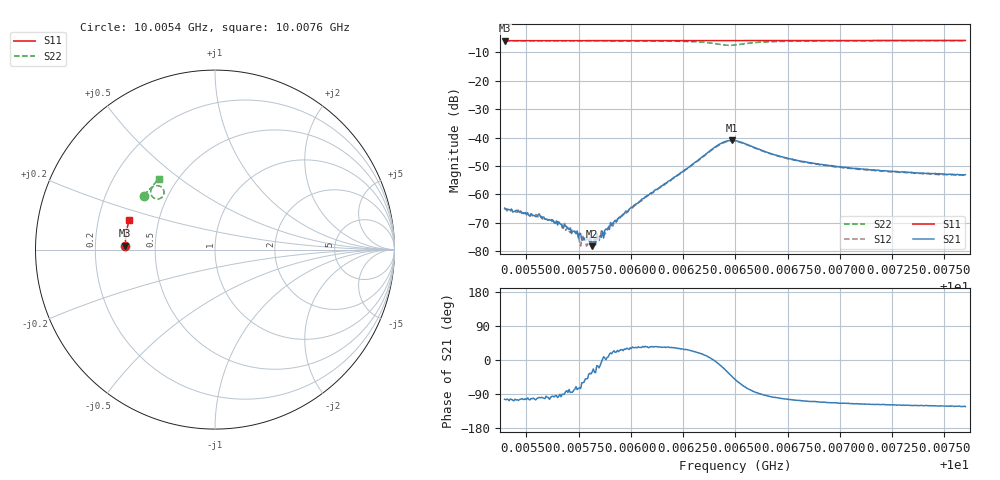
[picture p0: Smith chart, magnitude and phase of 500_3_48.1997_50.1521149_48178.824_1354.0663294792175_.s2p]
#  HZ  S  RI  R  50.00
! Rohde & Schwarz Vector Network Analyzer
! Rohde-Schwarz,ZNB20-2Port,1311601062101988,3.16
! Created: UTC 3/20/2024, 11:58:32 AM
! freq[Hz]  re:S11  im:S11  re:S21  im:S21  re:S12  im:S12  re:S22  im:S22
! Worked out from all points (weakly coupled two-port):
!   401 points, 10.0054 GHz to 10.0076 GHz, reference 50 ohm
!   highest |S21| = -41.03 dB at 10.00648 GHz (marker M1); lowest = -78.1 dB at 10.00581 GHz (marker M2)
!   lowest |S11| = -6.0 dB at 10.0054 GHz (marker M3), VSWR 3.01, Z = 16.6 + j1 ohm
!   |S11| at or under -10 dB: nowhere
!   |S22| runs from -7.6 to -6.0 dB; largest |S21 - S12| = 0.00055
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1.0005396e10  -0.5003 0.0226  -0.000135 -0.000559  -0.000127 -0.000529  -0.3949 0.3003
1.0005567e10  -0.5001 0.0338  -7.14e-05 -0.000403  -6.57e-05 -0.000414  -0.3876 0.3105
1.0005655e10  -0.4999 0.0396  -3.29e-05 -0.000327  -2.72e-06 -0.000315  -0.3835 0.3158
1.0005699e10  -0.4997 0.0424  1.76e-05 -0.000249  3.94e-05 -0.000259  -0.3814 0.3185
1.0005732e10  -0.4995 0.0446  5.16e-05 -0.000222  5.06e-05 -0.000209  -0.3797 0.3206
1.0005765e10  -0.4994 0.0466  7.91e-05 -0.000137  7.44e-05 -0.000145  -0.378 0.3226
1.0005776e10  -0.4994 0.0473  9.03e-05 -0.000146  6.3e-05 -0.000141  -0.3775 0.3233
1.0005787e10  -0.4993 0.0481  0.000111 -0.00013  8e-05 -9.55e-05  -0.3768 0.3238
1.0005815e10  -0.4992 0.0499  0.000105 -6.49e-05  0.000143 -7.48e-05  -0.3754 0.3256
1.000582e10  -0.4993 0.0503  0.000117 -5.12e-05  0.000112 -8.23e-05  -0.375 0.3261
1.0005837e10  -0.4992 0.0513  0.000202 -5.36e-05  0.000147 -6.48e-05  -0.374 0.327
1.0005859e10  -0.499 0.0527  0.000176 -1.7e-05  0.00023 3.08e-06  -0.3727 0.3284
1.0005914e10  -0.4987 0.0565  0.000294 0.000117  0.000253 0.000116  -0.3694 0.332
1.0005947e10  -0.4985 0.0584  0.00035 0.000165  0.000366 0.000176  -0.3673 0.3342
1.0006135e10  -0.4973 0.0706  0.00107 0.00074  0.00103 0.000787  -0.3516 0.3473
1.000641e10  -0.4943 0.0883  0.00705 -0.000762  0.00689 -0.000345  -0.287 0.3332
1.0006482e10  -0.4937 0.0924  0.00651 -0.00603  0.00676 -0.00554  -0.3 0.2878
1.0006498e10  -0.4935 0.0933  0.00549 -0.00685  0.00579 -0.00641  -0.3108 0.283
1.0006702e10  -0.4919 0.1063  -0.000801 -0.00474  -0.000587 -0.00469  -0.3579 0.3267
1.0006868e10  -0.4902 0.1169  -0.00118 -0.00335  -0.00102 -0.00337  -0.3506 0.3483
1.0007237e10  -0.4847 0.1402  -0.00122 -0.00224  -0.00107 -0.00227  -0.3309 0.3745
1.0007601e10  -0.4783 0.1629  -0.00121 -0.00187  -0.00106 -0.00187  -0.312 0.3935
